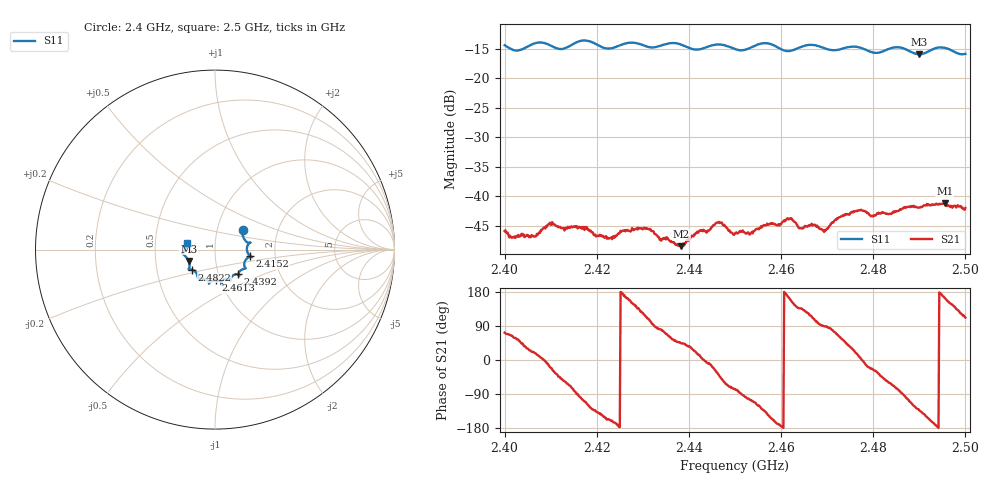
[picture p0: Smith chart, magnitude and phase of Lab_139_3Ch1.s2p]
# Hz S RI R 50
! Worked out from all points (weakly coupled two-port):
!   601 points, 2.4 GHz to 2.5 GHz, reference 50 ohm
!   highest |S21| = -41.17 dB at 2.4955 GHz (marker M1); lowest = -48.4 dB at 2.4383 GHz (marker M2)
!   lowest |S11| = -15.9 dB at 2.49 GHz (marker M3), VSWR 1.38, Z = 36.9 - j4.84 ohm
!   |S11| at or under -10 dB: start of sweep to end of sweep
!   S12 and S22 are empty: the file has one direction only
!   S11 on the Smith chart (normalised r, x): 2.4 GHz: 1.33, +0.31; 2.4152 GHz: 1.48, -0.11; 2.4392 GHz: 1.24, -0.35; 2.4613 GHz: 0.96, -0.34; 2.4822 GHz: 0.76, -0.17; 2.5 GHz: 0.73, +0.05
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2.4e9  0.1558 0.1106  0.00156 0.00484  0 0  0 0
2.406167e9  0.1926 0.0369  0.00431 0.0017  0 0  0 0
2.409833e9  0.1883 0.0338  0.00567 -0.00193  0 0  0 0
2.415167e9  0.1952 -0.0365  0.000766 -0.00551  0 0  0 0
2.416667e9  0.2047 -0.0424  -0.00111 -0.00536  0 0  0 0
2.422667e9  0.1652 -0.0686  -0.00406 -0.00169  0 0  0 0
2.429167e9  0.166 -0.1057  -0.00375 0.00379  0 0  0 0
2.433333e9  0.1322 -0.132  0.000553 0.00449  0 0  0 0
2.438333e9  0.1322 -0.141  0.00273 0.00263  0 0  0 0
2.439167e9  0.127 -0.1378  0.003 0.00267  0 0  0 0
2.446333e9  0.0858 -0.174  0.00482 -0.00364  0 0  0 0
2.45e9  0.0687 -0.1639  0.00113 -0.00472  0 0  0 0
2.456667e9  0.0389 -0.1952  -0.00419 -0.00389  0 0  0 0
2.461333e9  0.00694 -0.1704  -0.00642 0.00119  0 0  0 0
2.466667e9  -0.0335 -0.1896  -0.00242 0.00534  0 0  0 0
2.4695e9  -0.0391 -0.1759  0.000137 0.0052  0 0  0 0
2.475667e9  -0.0933 -0.1612  0.00654 0.00331  0 0  0 0
2.482167e9  -0.128 -0.1118  0.00492 -0.00535  0 0  0 0
2.483333e9  -0.1393 -0.1103  0.00356 -0.0061  0 0  0 0
2.49e9  -0.1467 -0.0638  -0.00551 -0.00589  0 0  0 0
2.4955e9  -0.1808 -0.0198  -0.00838 0.00248  0 0  0 0
2.5e9  -0.1581 0.034  -0.00295 0.0074  0 0  0 0
